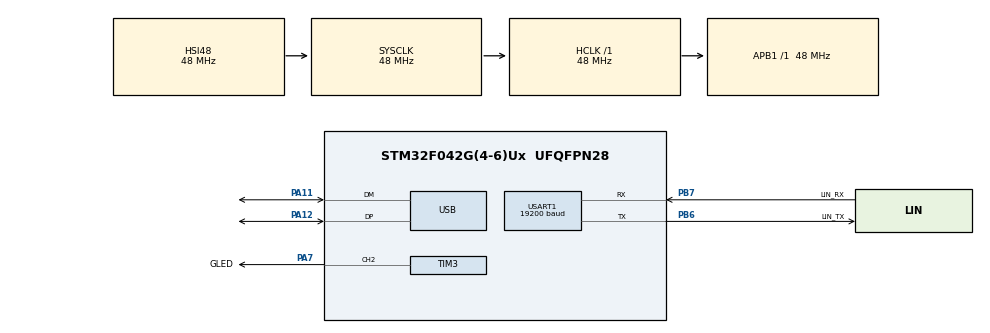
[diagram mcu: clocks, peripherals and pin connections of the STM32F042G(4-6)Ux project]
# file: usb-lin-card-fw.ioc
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Mcu.Family=STM32F0
Mcu.Name=STM32F042G(4-6)Ux
Mcu.Package=UFQFPN28
NVIC.USART1_IRQn=true\:0\:0\:false\:false\:true\:true\:true\:true
NVIC.USB_IRQn=true\:0\:0\:false\:false\:true\:true\:true\:true
PA11.Mode=Device
PA11.Signal=USB_DM
PA12.Mode=Device
PA12.Signal=USB_DP
PA13.Mode=Serial_Wire
PA13.Signal=SYS_SWDIO
PA14.Mode=Serial_Wire
PA14.Signal=SYS_SWCLK
PA7.GPIO_Label=GLED
PA7.Signal=S_TIM3_CH2
PB6.GPIO_Label=LIN_TX
PB6.Mode=LIN
PB6.Signal=USART1_TX
PB7.GPIO_Label=LIN_RX
PB7.Mode=LIN
PB7.Signal=USART1_RX
ProjectManager.HeapSize=0x100
ProjectManager.StackSize=0x400
ProjectManager.TargetToolchain=CMake
RCC.AHBFreq_Value=48000000
RCC.APB1Freq_Value=48000000
RCC.APB1TimFreq_Value=48000000
RCC.HCLKFreq_Value=48000000
RCC.SYSCLKFreq_VALUE=48000000
RCC.SYSCLKSource=RCC_SYSCLKSOURCE_HSI48
SH.S_TIM3_CH2.0=TIM3_CH2,PWM Generation2 CH2
TIM3.Channel-PWM\ Generation2\ CH2=TIM_CHANNEL_2
TIM3.OCPolarity_2=TIM_OCPOLARITY_LOW
TIM3.Period=999
TIM3.Prescaler=47
TIM3.Pulse-PWM\ Generation2\ CH2=750
USART1.BaudRate=19200
USART1.BreakDetectLength=UART_LINBREAKDETECTLENGTH_11B
USART1.VirtualMode-LIN=VM_LIN
USB_DEVICE.APP_RX_DATA_SIZE=64
USB_DEVICE.APP_TX_DATA_SIZE=64
USB_DEVICE.CLASS_NAME_FS=CDC
USB_DEVICE.MANUFACTURER_STRING=oko256
USB_DEVICE.PID_CDC_FS=48830
USB_DEVICE.PRODUCT_STRING_CDC_FS=USB LIN Card
USB_DEVICE.USBD_MAX_STR_DESC_SIZ=64
USB_DEVICE.VID=4617
USB_DEVICE.VirtualMode=Cdc
USB_DEVICE.VirtualModeFS=Cdc_FS
VP_RCC_USB.Mode=CRS SYNC Source USB
VP_SYS_VS_PINREMAP.Mode=PINREMAP
VP_USB_DEVICE_VS_USB_DEVICE_CDC_FS.Mode=CDC_FS
board=custom

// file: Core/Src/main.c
/* USER CODE BEGIN Header */
/**
 ******************************************************************************
 * @file           : main.c
 * @brief          : Main program body
 ******************************************************************************
 * @attention
 *
 * Copyright (c) 2026 STMicroelectronics.
 * All rights reserved.
 *
 * This software is licensed under terms that can be found in the LICENSE file
 * in the root directory of this software component.
 * If no LICENSE file comes with this software, it is provided AS-IS.
 *
 ******************************************************************************
 */
/* USER CODE END Header */
#include "main.h"
#include "usb_device.h"

/* USER CODE BEGIN Includes */
#include "app.h"
#include "board.h"
#include "slcan.h"
#include "usbd_cdc_if.h"
#ifdef DEBUG
#include "stack_monitor.h"
#endif
/* USER CODE END Includes */

TIM_HandleTypeDef htim3;

UART_HandleTypeDef huart1;

void        SystemClock_Config(void);
static void MX_GPIO_Init(void);
static void MX_TIM3_Init(void);
static void MX_USART1_UART_Init(void);

int main(void)
{

    /* USER CODE BEGIN 1 */
#ifdef DEBUG
    stack_monitor_init();
#endif
    board_bootloader_switcher();
    slcan_init();
    /* USER CODE END 1 */

    /* MCU Configuration--------------------------------------------------------*/

    /* Reset of all peripherals, Initializes the Flash interface and the Systick. */
    HAL_Init();

    /* Configure the system clock */
    SystemClock_Config();

    /* Initialize all configured peripherals */
    MX_GPIO_Init();
    MX_TIM3_Init();
    MX_USART1_UART_Init();
    MX_USB_DEVICE_Init();
    /* USER CODE BEGIN 2 */

    HAL_TIM_PWM_Start(&htim3, TIM_CHANNEL_2);

    // Keep LIN receive interrupt above USB so that USB processing can't cause LIN receive overruns.
    // (This could alternatively be configured in STM32CubeMX NVIC settings.)
    HAL_NVIC_SetPriority(USB_IRQn, 1, 0);

    app_init();

    /* USER CODE END 2 */

    /* Infinite loop */
    while (1) {

        /* USER CODE BEGIN 3 */

        app_poll();
        CDC_Service_Rx();
        CDC_Flush_Tx_Ring();
    }
    /* USER CODE END 3 */
}

void SystemClock_Config(void)
{
    RCC_OscInitTypeDef       RCC_OscInitStruct = {0};
    RCC_ClkInitTypeDef       RCC_ClkInitStruct = {0};
    RCC_PeriphCLKInitTypeDef PeriphClkInit     = {0};
    RCC_CRSInitTypeDef       RCC_CRSInitStruct = {0};

    /** Initializes the RCC Oscillators according to the specified parameters
     * in the RCC_OscInitTypeDef structure.
     */
    RCC_OscInitStruct.OscillatorType = RCC_OSCILLATORTYPE_HSI48;
    RCC_OscInitStruct.HSI48State     = RCC_HSI48_ON;
    RCC_OscInitStruct.PLL.PLLState   = RCC_PLL_NONE;
    if (HAL_RCC_OscConfig(&RCC_OscInitStruct) != HAL_OK) {
        Error_Handler();
    }

    /** Initializes the CPU, AHB and APB buses clocks
     */
    RCC_ClkInitStruct.ClockType      = RCC_CLOCKTYPE_HCLK | RCC_CLOCKTYPE_SYSCLK | RCC_CLOCKTYPE_PCLK1;
    RCC_ClkInitStruct.SYSCLKSource   = RCC_SYSCLKSOURCE_HSI48;
    RCC_ClkInitStruct.AHBCLKDivider  = RCC_SYSCLK_DIV1;
    RCC_ClkInitStruct.APB1CLKDivider = RCC_HCLK_DIV1;

    if (HAL_RCC_ClockConfig(&RCC_ClkInitStruct, FLASH_LATENCY_1) != HAL_OK) {
        Error_Handler();
    }
    PeriphClkInit.PeriphClockSelection = RCC_PERIPHCLK_USB | RCC_PERIPHCLK_USART1;
    PeriphClkInit.Usart1ClockSelection = RCC_USART1CLKSOURCE_PCLK1;
    PeriphClkInit.UsbClockSelection    = RCC_USBCLKSOURCE_HSI48;

    if (HAL_RCCEx_PeriphCLKConfig(&PeriphClkInit) != HAL_OK) {
        Error_Handler();
    }

    /** Enable the SYSCFG APB clock
     */
    __HAL_RCC_CRS_CLK_ENABLE();

    /** Configures CRS
     */
    RCC_CRSInitStruct.Prescaler             = RCC_CRS_SYNC_DIV1;
    RCC_CRSInitStruct.Source                = RCC_CRS_SYNC_SOURCE_USB;
    RCC_CRSInitStruct.Polarity              = RCC_CRS_SYNC_POLARITY_RISING;
    RCC_CRSInitStruct.ReloadValue           = __HAL_RCC_CRS_RELOADVALUE_CALCULATE(48000000, 1000);
    RCC_CRSInitStruct.ErrorLimitValue       = 34;
    RCC_CRSInitStruct.HSI48CalibrationValue = 32;

    HAL_RCCEx_CRSConfig(&RCC_CRSInitStruct);
}

static void MX_TIM3_Init(void)
{

    TIM_MasterConfigTypeDef sMasterConfig = {0};
    TIM_OC_InitTypeDef      sConfigOC     = {0};

    htim3.Instance               = TIM3;
    htim3.Init.Prescaler         = 47;
    htim3.Init.CounterMode       = TIM_COUNTERMODE_UP;
    htim3.Init.Period            = 999;
    htim3.Init.ClockDivision     = TIM_CLOCKDIVISION_DIV1;
    htim3.Init.AutoReloadPreload = TIM_AUTORELOAD_PRELOAD_DISABLE;
    if (HAL_TIM_PWM_Init(&htim3) != HAL_OK) {
        Error_Handler();
    }
    sMasterConfig.MasterOutputTrigger = TIM_TRGO_RESET;
    sMasterConfig.MasterSlaveMode     = TIM_MASTERSLAVEMODE_DISABLE;
    if (HAL_TIMEx_MasterConfigSynchronization(&htim3, &sMasterConfig) != HAL_OK) {
        Error_Handler();
    }
    sConfigOC.OCMode     = TIM_OCMODE_PWM1;
    sConfigOC.Pulse      = 750;
    sConfigOC.OCPolarity = TIM_OCPOLARITY_LOW;
    sConfigOC.OCFastMode = TIM_OCFAST_DISABLE;
    if (HAL_TIM_PWM_ConfigChannel(&htim3, &sConfigOC, TIM_CHANNEL_2) != HAL_OK) {
        Error_Handler();
    }
    HAL_TIM_MspPostInit(&htim3);
}

static void MX_USART1_UART_Init(void)
{

    huart1.Instance                    = USART1;
    huart1.Init.BaudRate               = 19200;
    huart1.Init.WordLength             = UART_WORDLENGTH_8B;
    huart1.Init.StopBits               = UART_STOPBITS_1;
    huart1.Init.Parity                 = UART_PARITY_NONE;
    huart1.Init.Mode                   = UART_MODE_TX_RX;
    huart1.Init.HwFlowCtl              = UART_HWCONTROL_NONE;
    huart1.Init.OverSampling           = UART_OVERSAMPLING_16;
    huart1.Init.OneBitSampling         = UART_ONE_BIT_SAMPLE_DISABLE;
    huart1.AdvancedInit.AdvFeatureInit = UART_ADVFEATURE_NO_INIT;
    if (HAL_LIN_Init(&huart1, UART_LINBREAKDETECTLENGTH_11B) != HAL_OK) {
        Error_Handler();
    }
    /* USER CODE BEGIN USART1_Init 2 */
    board_lin_start_receive();
    /* USER CODE END USART1_Init 2 */
}

static void MX_GPIO_Init(void)
{

    /* GPIO Ports Clock Enable */
    __HAL_RCC_GPIOA_CLK_ENABLE();
    __HAL_RCC_GPIOB_CLK_ENABLE();

}

void Error_Handler(void)
{
    __disable_irq();
    while (1) { }
}
#ifdef USE_FULL_ASSERT
/**
 * @brief  Reports the name of the source file and the source line number
 *         where the assert_param error has occurred.
 * @param  file: pointer to the source file name
 * @param  line: assert_param error line source number
 * @retval None
 */
void assert_failed(uint8_t* file, uint32_t line)
{
    /* USER CODE BEGIN 6 */
    /* User can add his own implementation to report the file name and line number,
       e.g.: printf("Wrong parameters value: file %s on line %d\r\n", file, line) */
    /* USER CODE END 6 */
}
#endif /* USE_FULL_ASSERT */
